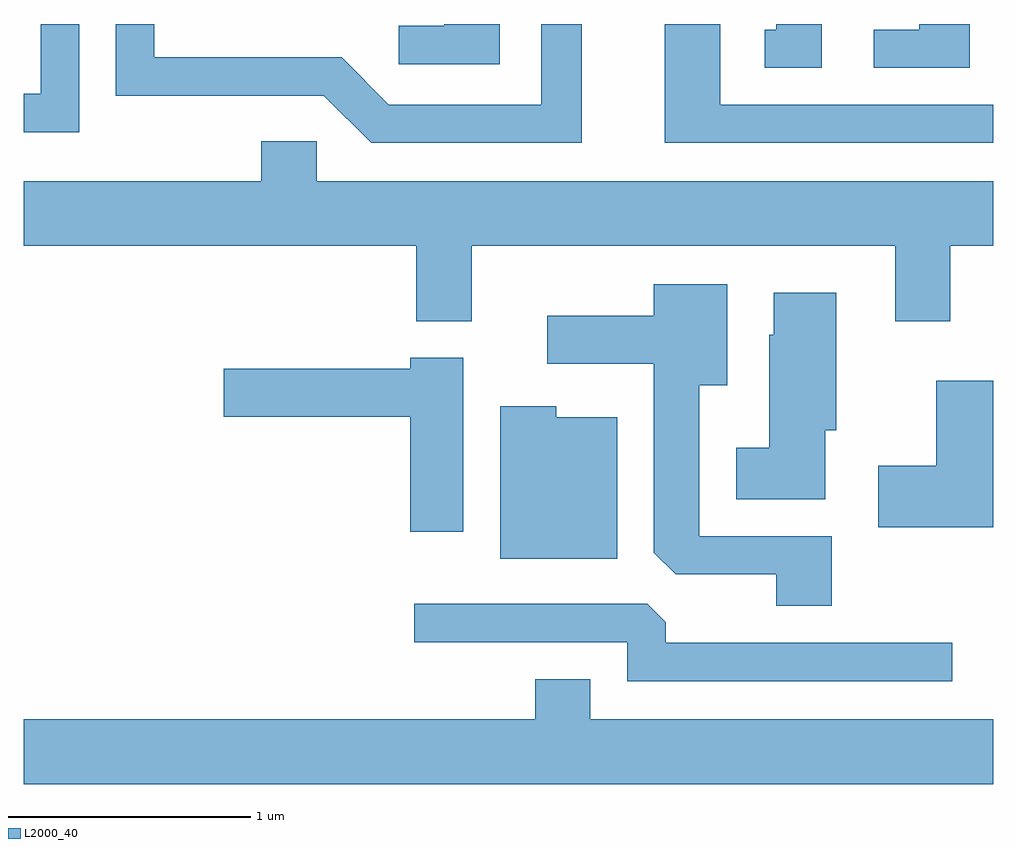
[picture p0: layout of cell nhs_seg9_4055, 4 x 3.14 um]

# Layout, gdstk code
import gdstk
lib = gdstk.Library(unit=1e-6, precision=1e-09)
def P(c, l, *ps):  # polygons
    for p in ps: c.add(gdstk.Polygon(p, *l))
L2000_40 = (2000, 40)

nhs_seg9_4055 = lib.new_cell('nhs_seg9_4055')
P(nhs_seg9_4055, L2000_40, [(305.914,2070.432),(305.746,2070.432),(305.746,2070.099),(305.117,2070.099),(304.922,2070.294),(304.149,2070.294),(304.149,2070.432),(303.991,2070.432),(303.991,2070.136),(304.849,2070.136),(305.044,2069.941),(305.914,2069.941)],
  [(305.574,2070.432),(305.346,2070.432),(305.346,2070.424),(305.158,2070.424),(305.158,2070.266),(305.574,2070.266)],
  [(303.839,2070.432),(303.681,2070.432),(303.681,2070.144),(303.611,2070.144),(303.611,2069.986),(303.839,2069.986)],
  [(307.611,2070.099),(306.484,2070.099),(306.484,2070.432),(306.256,2070.432),(306.256,2069.941),(307.611,2069.941)],
  [(306.904,2070.432),(306.716,2070.432),(306.716,2070.409),(306.668,2070.409),(306.668,2070.251),(306.904,2070.251)],
  [(307.514,2070.432),(307.306,2070.432),(307.306,2070.409),(307.118,2070.409),(307.118,2070.251),(307.514,2070.251)],
  [(305.459,2069.516),(307.206,2069.516),(307.206,2069.206),(307.434,2069.206),(307.434,2069.516),(307.611,2069.516),(307.611,2069.784),(304.819,2069.784),(304.819,2069.949),(304.591,2069.949),(304.591,2069.784),(303.611,2069.784),(303.611,2069.516),(305.231,2069.516),(305.231,2069.206),(305.459,2069.206)],
  [(306.944,2068.319),(306.399,2068.319),(306.399,2068.941),(306.514,2068.941),(306.514,2069.359),(306.211,2069.359),(306.211,2069.229),(305.771,2069.229),(305.771,2069.031),(306.211,2069.031),(306.211,2068.251),(306.302,2068.161),(306.716,2068.161),(306.716,2068.031),(306.944,2068.031)],
  [(306.919,2068.756),(306.964,2068.756),(306.964,2069.324),(306.706,2069.324),(306.706,2069.149),(306.686,2069.149),(306.686,2068.684),(306.551,2068.684),(306.551,2068.471),(306.919,2068.471)],
  [(305.424,2069.054),(305.206,2069.054),(305.206,2069.009),(304.436,2069.009),(304.436,2068.811),(305.206,2068.811),(305.206,2068.336),(305.424,2068.336)],
  [(307.611,2068.959),(307.376,2068.959),(307.376,2068.609),(307.136,2068.609),(307.136,2068.356),(307.611,2068.356)],
  [(306.059,2068.809),(305.809,2068.809),(305.809,2068.854),(305.576,2068.854),(305.576,2068.226),(306.059,2068.226)],
  [(307.443,2067.879),(306.259,2067.879),(306.259,2067.963),(306.184,2068.039),(305.223,2068.039),(305.223,2067.881),(306.101,2067.881),(306.101,2067.721),(307.443,2067.721)],
  [(307.611,2067.564),(305.949,2067.564),(305.949,2067.729),(305.721,2067.729),(305.721,2067.564),(303.611,2067.564),(303.611,2067.296),(307.611,2067.296)])

lib.write_gds('nhs_seg9_4055.gds')
